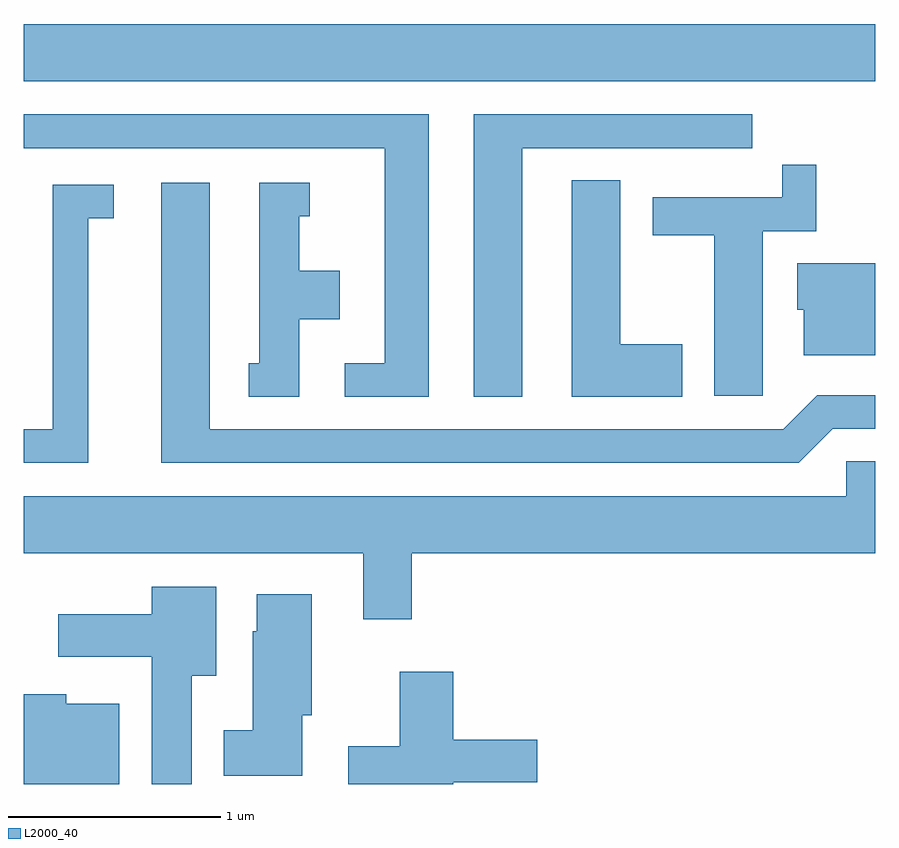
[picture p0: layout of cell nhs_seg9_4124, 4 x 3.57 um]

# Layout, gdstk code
import gdstk
lib = gdstk.Library(unit=1e-6, precision=1e-09)
def R(c, l, rs):  # rectangles x0, y0, x1, y1
    for r in rs: c.add(gdstk.rectangle(r[:2], r[2:], *l))
def P(c, l, *ps):  # polygons
    for p in ps: c.add(gdstk.Polygon(p, *l))
L2000_40 = (2000, 40)

nhs_seg9_4124 = lib.new_cell('nhs_seg9_4124')
R(nhs_seg9_4124, L2000_40, [(305.611,2071.736,309.611,2072.004)])
P(nhs_seg9_4124, L2000_40, [(307.954,2071.421),(309.033,2071.421),(309.033,2071.579),(307.726,2071.579),(307.726,2070.251),(307.954,2070.251)],
  [(307.514,2071.579),(305.611,2071.579),(305.611,2071.421),(307.306,2071.421),(307.306,2070.409),(307.118,2070.409),(307.118,2070.251),(307.514,2070.251)],
  [(309.084,2071.031),(309.334,2071.031),(309.334,2071.343),(309.176,2071.343),(309.176,2071.189),(308.566,2071.189),(308.566,2071.011),(308.856,2071.011),(308.856,2070.256),(309.084,2070.256)],
  [(308.704,2070.499),(308.414,2070.499),(308.414,2071.269),(308.186,2071.269),(308.186,2070.251),(308.704,2070.251)],
  [(309.412,2070.101),(309.611,2070.101),(309.611,2070.259),(309.339,2070.259),(309.179,2070.099),(306.484,2070.099),(306.484,2071.259),(306.256,2071.259),(306.256,2069.941),(309.252,2069.941)],
  [(306.904,2070.616),(307.094,2070.616),(307.094,2070.844),(306.904,2070.844),(306.904,2071.101),(306.953,2071.101),(306.953,2071.259),(306.716,2071.259),(306.716,2070.409),(306.668,2070.409),(306.668,2070.251),(306.904,2070.251)],
  [(305.914,2071.091),(306.033,2071.091),(306.033,2071.249),(305.746,2071.249),(305.746,2070.099),(305.611,2070.099),(305.611,2069.941),(305.914,2069.941)],
  [(309.611,2070.879),(309.246,2070.879),(309.246,2070.661),(309.276,2070.661),(309.276,2070.446),(309.611,2070.446)],
  [(307.434,2069.516),(309.611,2069.516),(309.611,2069.949),(309.476,2069.949),(309.476,2069.784),(305.611,2069.784),(305.611,2069.516),(307.206,2069.516),(307.206,2069.206),(307.434,2069.206)],
  [(306.399,2068.941),(306.514,2068.941),(306.514,2069.359),(306.211,2069.359),(306.211,2069.229),(305.771,2069.229),(305.771,2069.031),(306.211,2069.031),(306.211,2068.432),(306.399,2068.432)],
  [(306.919,2068.756),(306.964,2068.756),(306.964,2069.324),(306.706,2069.324),(306.706,2069.149),(306.686,2069.149),(306.686,2068.684),(306.551,2068.684),(306.551,2068.471),(306.919,2068.471)],
  [(307.629,2068.441),(308.024,2068.441),(308.024,2068.639),(307.629,2068.639),(307.629,2068.959),(307.376,2068.959),(307.376,2068.609),(307.136,2068.609),(307.136,2068.432),(307.629,2068.432)],
  [(306.059,2068.809),(305.809,2068.809),(305.809,2068.854),(305.611,2068.854),(305.611,2068.432),(306.059,2068.432)])

lib.write_gds('nhs_seg9_4124.gds')
